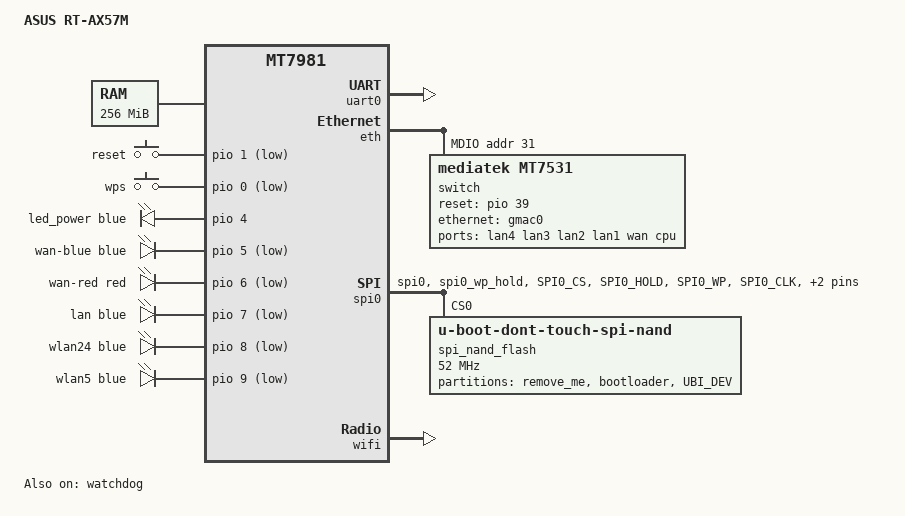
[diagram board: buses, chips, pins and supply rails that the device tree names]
// SPDX-License-Identifier: (GPL-2.0 OR MIT)

/dts-v1/;
#include "mt7981b.dtsi"
/ {
	model = "ASUS RT-AX57M";
	compatible = "asus,rt-ax57m", "mediatek,mt7981";

	aliases {
		serial0 = &uart0;
		label-mac-device = &gmac0;
		led-boot = &led_power;
		led-failsafe = &led_power;
		led-running = &led_power;
		led-upgrade = &led_power;
	};

	chosen {
		stdout-path = "serial0:115200n8";
		bootargs-override = "";
	};

	memory@40000000 {
		reg = <0 0x40000000 0 0x10000000>;
		device_type = "memory";
	};

	keys {
		compatible = "gpio-keys";

		reset {
			label = "reset";
			gpios = <&pio 1 GPIO_ACTIVE_LOW>;
			linux,code = <KEY_RESTART>;
		};

		wps {
			label = "wps";
			gpios = <&pio 0 GPIO_ACTIVE_LOW>;
			linux,code = <KEY_WPS_BUTTON>;
		};
	};

	leds {
		compatible = "gpio-leds";

		led_power: power {
			function = LED_FUNCTION_POWER;
			color = <LED_COLOR_ID_BLUE>;
			gpios = <&pio 4 GPIO_ACTIVE_HIGH>;
			default-state = "on";
		};

		wan-blue {
			function = LED_FUNCTION_WAN;
			color = <LED_COLOR_ID_BLUE>;
			gpios = <&pio 5 GPIO_ACTIVE_LOW>;
		};

		wan-red {
			function = LED_FUNCTION_WAN;
			color = <LED_COLOR_ID_RED>;
			gpios = <&pio 6 GPIO_ACTIVE_LOW>;
		};

		lan {
			function = LED_FUNCTION_LAN;
			color = <LED_COLOR_ID_BLUE>;
			gpios = <&pio 7 GPIO_ACTIVE_LOW>;
		};		

		wlan24 {
			function = LED_FUNCTION_WLAN_2GHZ;
			color = <LED_COLOR_ID_BLUE>;
			gpios = <&pio 8 GPIO_ACTIVE_LOW>;
			linux,default-trigger = "phy0tpt";
		};

		wlan5 {
			function = LED_FUNCTION_WLAN_5GHZ;
			color = <LED_COLOR_ID_BLUE>;
			gpios = <&pio 9 GPIO_ACTIVE_LOW>;
			linux,default-trigger = "phy1tpt";
		};
	};

	timer {
		clock-frequency = <13000000>;
	};
};

&uart0 {
	status = "okay";
};

&eth {
	status = "okay";

	gmac0: mac@0 {
		/* LAN */
		compatible = "mediatek,eth-mac";
		reg = <0>;
		nvmem-cells = <&macaddr_factory_4>;
		nvmem-cell-names = "mac-address";
		phy-mode = "2500base-x";

		fixed-link {
			speed = <2500>;
			full-duplex;
			pause;
		};
	};

	mdio: mdio-bus {
		#address-cells = <1>;
		#size-cells = <0>;

		switch@1f {
			compatible = "mediatek,mt7531";
			reg = <31>;
			reset-gpios = <&pio 39 GPIO_ACTIVE_HIGH>;

			ports {
				#address-cells = <1>;
				#size-cells = <0>;

				port@0 {
					reg = <0>;
					label = "lan4";
				};

				port@1 {
					reg = <1>;
					label = "lan3";
				};

				port@2 {
					reg = <2>;
					label = "lan2";
				};

				port@3 {
					reg = <3>;
					label = "lan1";
				};

				port@4 {
					reg = <4>;
					label = "wan";
				};

				port@6 {
					reg = <6>;
					label = "cpu";
					ethernet = <&gmac0>;
					phy-mode = "2500base-x";

					fixed-link {
						speed = <2500>;
						full-duplex;
						pause;
					};
				};
			};
		};
	};
};

&spi0 {
	pinctrl-names = "default";
	pinctrl-0 = <&spi0_flash_pins>;
	status = "okay";

	spi_nand_flash: flash@0 {
		compatible = "u-boot-dont-touch-spi-nand";
		#address-cells = <1>;
		#size-cells = <1>;
		reg = <0>;

		spi-max-frequency = <52000000>;
		spi-tx-bus-width = <4>;
		spi-rx-bus-width = <4>;

		/*
		 * ASUS bootloader tries to replace the partitions defined in
		 * Device Tree and by that also deletes all additional properties
		 * needed for UBI and NVMEM-on-UBI.
		 * Prevent this from happening by tricking the loader to delete and
		 * replace a bait node instead (works with older bootloaders).
		 */
		partitions: dummy {
			compatible = "u-boot-dummy-partitions";
			#address-cells = <1>;
			#size-cells = <1>;

			partition@0 {
				reg = <0x0 0x0>;
				label = "remove_me";
			};
		};

		partitions {
			compatible = "fixed-partitions";
			#address-cells = <1>;
			#size-cells = <1>;

			partition@0 {
				reg = <0x0 0x400000>;
				label = "bootloader";
				read-only;
			};

			partition@400000 {
				compatible = "linux,ubi";
				reg = <0x400000 0x7c00000>;
				label = "UBI_DEV";

				volumes {
					ubi_factory: ubi-volume-factory {
						volname = "Factory";
					};
				};
			};
		};
	};
};

&ubi_factory {
	nvmem-layout {
		compatible = "fixed-layout";
		#address-cells = <1>;
		#size-cells = <1>;

		eeprom_factory_0: eeprom@0 {
			reg = <0x0 0x1000>;
		};

		macaddr_factory_4: macaddr@4 {
			reg = <0x4 0x6>;
		};

		precal_factory_1010: precal@1010 {
			reg = <0x1010 0x6f010>;
		};		
	};
};

&pio {
	spi0_flash_pins: spi0-pins {
		mux {
			function = "spi";
			groups = "spi0", "spi0_wp_hold";
		};

		conf-pu {
			pins = "SPI0_CS", "SPI0_HOLD", "SPI0_WP";
			drive-strength = <MTK_DRIVE_8mA>;
			bias-pull-up = <MTK_PUPD_SET_R1R0_11>;
		};

		conf-pd {
			pins = "SPI0_CLK", "SPI0_MOSI", "SPI0_MISO";
			drive-strength = <MTK_DRIVE_8mA>;
			bias-pull-down = <MTK_PUPD_SET_R1R0_11>;
		};
	};
};

&watchdog {
	status = "okay";
};

&wifi {
	nvmem-cells = <&eeprom_factory_0>, <&precal_factory_1010>;
	nvmem-cell-names = "eeprom", "precal";

	status = "okay";
};
